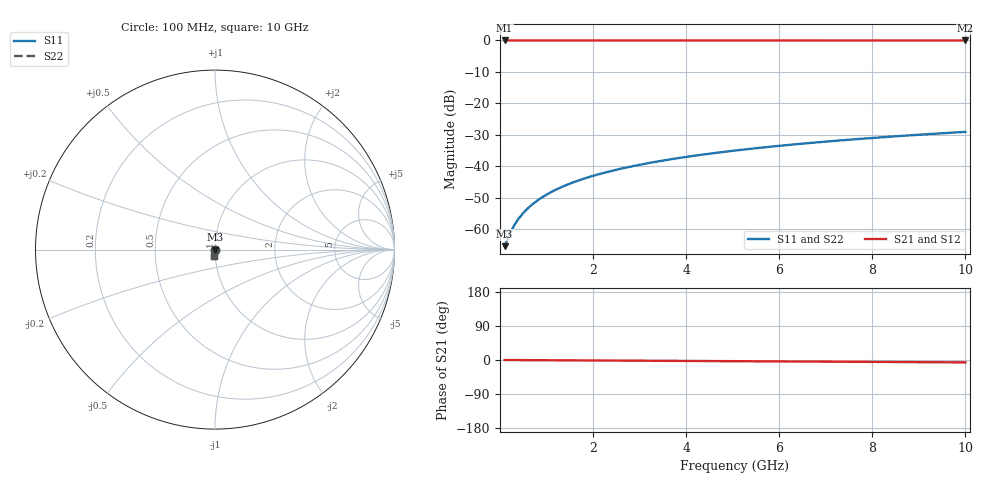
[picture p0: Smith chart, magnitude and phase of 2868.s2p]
# Hz S RI R 50.00
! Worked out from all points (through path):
!   100 points, 100 MHz to 10 GHz, reference 50 ohm
!   highest |S21| = 0.00 dB at 100 MHz (marker M1); lowest = 0.0 dB at 10 GHz (marker M2)
!   lowest |S11| = -65.4 dB at 100 MHz (marker M3), VSWR 1.00, Z = 50 - j0.0352 ohm
!   |S11| at or under -10 dB: start of sweep to end of sweep
!   |S22| runs from -65.4 to -29.1 dB; largest |S21 - S12| = 0
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1e8  0.000406 -0.000352  0.9996 -0.00108  0.9996 -0.00108  0.000406 -0.000352
2e8  0.000407 -0.000704  0.9996 -0.00216  0.9996 -0.00216  0.000407 -0.000704
3e8  0.000406 -0.00106  0.9996 -0.00325  0.9996 -0.00325  0.000406 -0.00106
4e8  0.000405 -0.00141  0.9996 -0.00433  0.9996 -0.00433  0.000405 -0.00141
5e8  0.000402 -0.00176  0.9996 -0.00541  0.9996 -0.00541  0.000402 -0.00176
6e8  0.000398 -0.00211  0.9996 -0.00649  0.9996 -0.00649  0.000398 -0.00211
7e8  0.000394 -0.00246  0.9995 -0.00757  0.9995 -0.00757  0.000394 -0.00246
9e8  0.000382 -0.00317  0.9995 -0.00974  0.9995 -0.00974  0.000382 -0.00317
1e9  0.000375 -0.00352  0.9995 -0.0108  0.9995 -0.0108  0.000375 -0.00352
1.2e9  0.000359 -0.00422  0.9995 -0.013  0.9995 -0.013  0.000359 -0.00422
1.5e9  0.000328 -0.00528  0.9994 -0.0162  0.9994 -0.0162  0.000328 -0.00528
1.8e9  0.000291 -0.00634  0.9994 -0.0195  0.9994 -0.0195  0.000291 -0.00634
2.1e9  0.000246 -0.00739  0.9993 -0.0227  0.9993 -0.0227  0.000246 -0.00739
2.5e9  0.000176 -0.0088  0.9991 -0.027  0.9991 -0.027  0.000176 -0.0088
2.9e9  9.3e-05 -0.0102  0.999 -0.0314  0.999 -0.0314  9.3e-05 -0.0102
3.4e9  -2.77e-05 -0.012  0.9988 -0.0368  0.9988 -0.0368  -2.77e-05 -0.012
4.2e9  -0.000261 -0.0148  0.9984 -0.0454  0.9984 -0.0454  -0.000261 -0.0148
5.1e9  -0.000581 -0.0179  0.9978 -0.0552  0.9978 -0.0552  -0.000581 -0.0179
5.9e9  -0.000919 -0.0208  0.9973 -0.0638  0.9973 -0.0638  -0.000919 -0.0208
6.7e9  -0.0013 -0.0236  0.9966 -0.0725  0.9966 -0.0725  -0.0013 -0.0236
8.4e9  -0.00229 -0.0295  0.9949 -0.0909  0.9949 -0.0909  -0.00229 -0.0295
1e10  -0.00341 -0.0351  0.993 -0.1081  0.993 -0.1081  -0.00341 -0.0351
